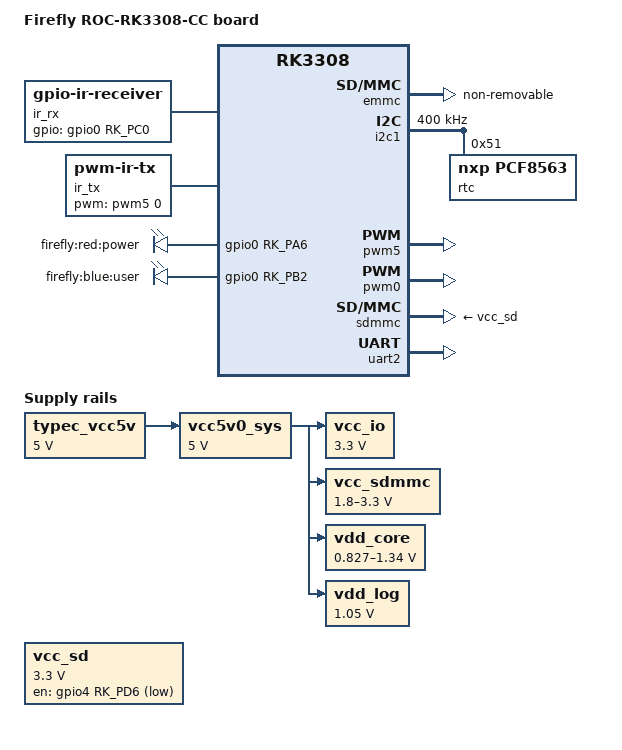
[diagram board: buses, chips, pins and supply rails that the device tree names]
// SPDX-License-Identifier: (GPL-2.0+ OR MIT)
/*
 * Copyright (c) 2019 Fuzhou Rockchip Electronics Co., Ltd
 */

/dts-v1/;
#include "rk3308.dtsi"

/ {
	model = "Firefly ROC-RK3308-CC board";
	compatible = "firefly,roc-rk3308-cc", "rockchip,rk3308";
	chosen {
		stdout-path = "serial2:1500000n8";
	};

	ir_rx {
		compatible = "gpio-ir-receiver";
		gpios = <&gpio0 RK_PC0 GPIO_ACTIVE_HIGH>;
		pinctrl-names = "default";
		pinctrl-0 = <&ir_recv_pin>;
	};

	ir_tx {
		compatible = "pwm-ir-tx";
		pwms = <&pwm5 0 25000 0>;
	};

	leds {
		compatible = "gpio-leds";

		power_led: led-0 {
			label = "firefly:red:power";
			linux,default-trigger = "ir-power-click";
			default-state = "on";
			gpios = <&gpio0 RK_PA6 GPIO_ACTIVE_HIGH>;
		};

		user_led: led-1 {
			label = "firefly:blue:user";
			linux,default-trigger = "ir-user-click";
			default-state = "off";
			gpios = <&gpio0 RK_PB2 GPIO_ACTIVE_HIGH>;
		};
	};

	typec_vcc5v: typec-vcc5v {
		compatible = "regulator-fixed";
		regulator-name = "typec_vcc5v";
		regulator-min-microvolt = <5000000>;
		regulator-max-microvolt = <5000000>;
		regulator-always-on;
		regulator-boot-on;
	};

	vcc5v0_sys: vcc5v0-sys {
		compatible = "regulator-fixed";
		regulator-name = "vcc5v0_sys";
		regulator-min-microvolt = <5000000>;
		regulator-max-microvolt = <5000000>;
		regulator-always-on;
		regulator-boot-on;
		vin-supply = <&typec_vcc5v>;
	};

	vcc_io: vcc-io {
		compatible = "regulator-fixed";
		regulator-name = "vcc_io";
		regulator-min-microvolt = <3300000>;
		regulator-max-microvolt = <3300000>;
		regulator-always-on;
		regulator-boot-on;
		vin-supply = <&vcc5v0_sys>;
	};

	vcc_sdmmc: vcc-sdmmc {
		compatible = "regulator-gpio";
		regulator-name = "vcc_sdmmc";
		regulator-min-microvolt = <1800000>;
		regulator-max-microvolt = <3300000>;
		gpios = <&gpio0 RK_PA7 GPIO_ACTIVE_HIGH>;
		states = <1800000 0x0
			  3300000 0x1>;
		vin-supply = <&vcc5v0_sys>;
	};

	vcc_sd: vcc-sd {
		compatible = "regulator-fixed";
		gpio = <&gpio4 RK_PD6 GPIO_ACTIVE_LOW>;
		regulator-name = "vcc_sd";
		regulator-min-microvolt = <3300000>;
		regulator-max-microvolt = <3300000>;
		regulator-always-on;
		regulator-boot-on;
		vim-supply = <&vcc_io>;
	};

	vdd_core: vdd-core {
		compatible = "pwm-regulator";
		pwms = <&pwm0 0 5000 1>;
		regulator-name = "vdd_core";
		regulator-min-microvolt = <827000>;
		regulator-max-microvolt = <1340000>;
		regulator-init-microvolt = <1015000>;
		regulator-settling-time-up-us = <250>;
		regulator-always-on;
		regulator-boot-on;
		pwm-supply = <&vcc5v0_sys>;
	};

	vdd_log: vdd-log {
		compatible = "regulator-fixed";
		regulator-name = "vdd_log";
		regulator-min-microvolt = <1050000>;
		regulator-max-microvolt = <1050000>;
		regulator-always-on;
		regulator-boot-on;
		vin-supply = <&vcc5v0_sys>;
	};
};

&cpu0 {
	cpu-supply = <&vdd_core>;
};

&emmc {
	cap-mmc-highspeed;
	mmc-hs200-1_8v;
	non-removable;
	status = "okay";
};

&i2c1 {
	clock-frequency = <400000>;
	status = "okay";

	rtc: rtc@51 {
		compatible = "nxp,pcf8563";
		reg = <0x51>;
		#clock-cells = <0>;
	};
};

&pwm5 {
	status = "okay";
	pinctrl-names = "active";
	pinctrl-0 = <&pwm5_pin_pull_down>;
};

&pinctrl {
	pinctrl-names = "default";
	pinctrl-0 = <&rtc_32k>;

	ir-receiver {
		ir_recv_pin: ir-recv-pin  {
			rockchip,pins = <0 RK_PC0 RK_FUNC_GPIO &pcfg_pull_none>;
		};
	};

	buttons {
		pwr_key: pwr-key {
			rockchip,pins = <0 RK_PA6 RK_FUNC_GPIO &pcfg_pull_up>;
		};
	};
};

&pwm0 {
	status = "okay";
	pinctrl-0 = <&pwm0_pin_pull_down>;
};

&sdmmc {
	cap-mmc-highspeed;
	cap-sd-highspeed;
	card-detect-delay = <300>;
	sd-uhs-sdr25;
	sd-uhs-sdr50;
	sd-uhs-sdr104;
	vmmc-supply = <&vcc_sd>;
	vqmmc-supply = <&vcc_sdmmc>;
	status = "okay";
};

&uart2 {
	status = "okay";
};
